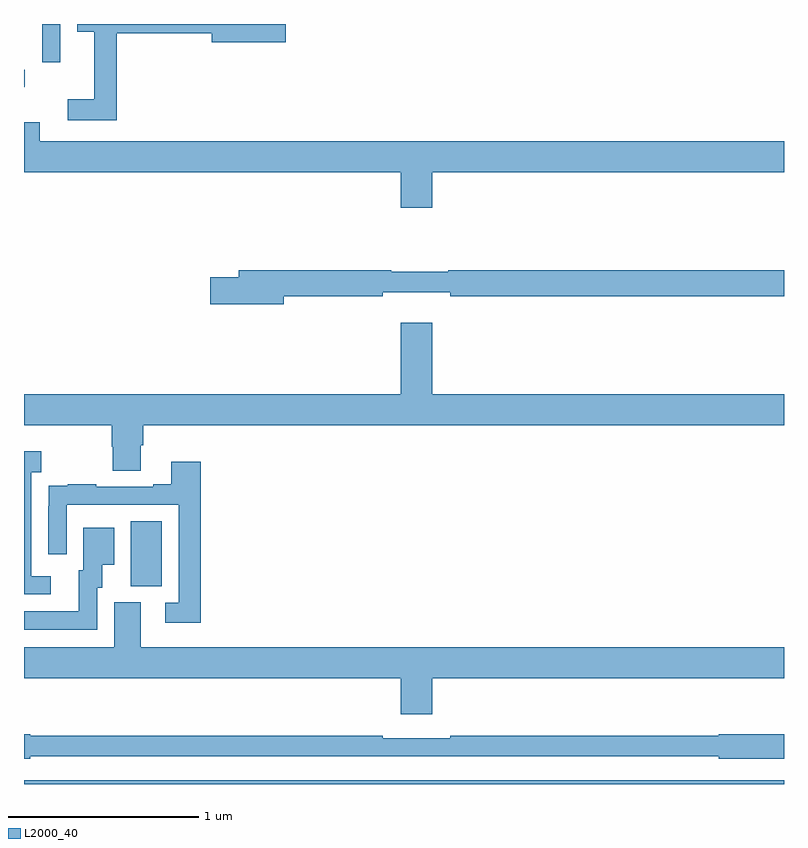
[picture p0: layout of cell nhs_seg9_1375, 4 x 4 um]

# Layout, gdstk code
import gdstk
lib = gdstk.Library(unit=1e-6, precision=1e-09)
def R(c, l, rs):  # rectangles x0, y0, x1, y1
    for r in rs: c.add(gdstk.rectangle(r[:2], r[2:], *l))
def P(c, l, *ps):  # polygons
    for p in ps: c.add(gdstk.Polygon(p, *l))
L2000_40 = (2000, 40)

nhs_seg9_1375 = lib.new_cell('nhs_seg9_1375')
R(nhs_seg9_1375, L2000_40, [(187,1226.5,191,1226.52), (187.562,1227.541,187.726,1227.884), (187.095,1230.3,187.191,1230.5)])
P(nhs_seg9_1375, L2000_40, [(187.487,1230.451),(187.988,1230.451),(187.988,1230.404),(188.377,1230.404),(188.377,1230.5),(187.28,1230.5),(187.28,1230.458),(187.37,1230.458),(187.37,1230.103),(187.23,1230.103),(187.23,1229.994),(187.487,1229.994)],
  [(187.005,1230.171),(187.005,1230.259),(187,1230.259),(187,1230.166)],
  [(189.148,1229.72),(191,1229.72),(191,1229.884),(187.084,1229.884),(187.084,1229.982),(187,1229.982),(187,1229.72),(188.984,1229.72),(188.984,1229.532),(189.148,1229.532)],
  [(188.368,1229.068),(188.888,1229.068),(188.888,1229.087),(189.244,1229.087),(189.244,1229.068),(191,1229.068),(191,1229.204),(189.233,1229.204),(189.233,1229.197),(188.933,1229.197),(188.933,1229.204),(188.129,1229.204),(188.129,1229.168),(187.98,1229.168),(187.98,1229.026),(188.368,1229.026)],
  [(187.615,1228.282),(187.628,1228.282),(187.628,1228.388),(191,1228.388),(191,1228.552),(189.148,1228.552),(189.148,1228.927),(188.984,1228.927),(188.984,1228.552),(187,1228.552),(187,1228.388),(187.463,1228.388),(187.463,1228.275),(187.468,1228.275),(187.468,1228.15),(187.615,1228.15)],
  [(187.141,1227.594),(187.038,1227.594),(187.038,1228.142),(187.09,1228.142),(187.09,1228.252),(187,1228.252),(187,1227.498),(187.141,1227.498)],
  [(187.931,1228.195),(187.775,1228.195),(187.775,1228.078),(187.679,1228.078),(187.679,1228.065),(187.379,1228.065),(187.379,1228.078),(187.231,1228.078),(187.231,1228.071),(187.129,1228.071),(187.129,1227.962),(187.128,1227.962),(187.128,1227.708),(187.224,1227.708),(187.224,1227.969),(187.815,1227.969),(187.815,1227.453),(187.743,1227.453),(187.743,1227.348),(187.931,1227.348)],
  [(187.386,1227.534),(187.411,1227.534),(187.411,1227.653),(187.474,1227.653),(187.474,1227.85),(187.313,1227.85),(187.313,1227.624),(187.289,1227.624),(187.289,1227.408),(187,1227.408),(187,1227.312),(187.386,1227.312)],
  [(189.148,1227.056),(191,1227.056),(191,1227.22),(187.615,1227.22),(187.615,1227.456),(187.475,1227.456),(187.475,1227.22),(187,1227.22),(187,1227.056),(188.984,1227.056),(188.984,1226.868),(189.148,1226.868)],
  [(187.032,1226.646),(190.656,1226.646),(190.656,1226.633),(191,1226.633),(191,1226.763),(190.656,1226.763),(190.656,1226.755),(189.244,1226.755),(189.244,1226.742),(188.888,1226.742),(188.888,1226.755),(187.032,1226.755),(187.032,1226.763),(187,1226.763),(187,1226.633),(187.032,1226.633)])

lib.write_gds('nhs_seg9_1375.gds')
